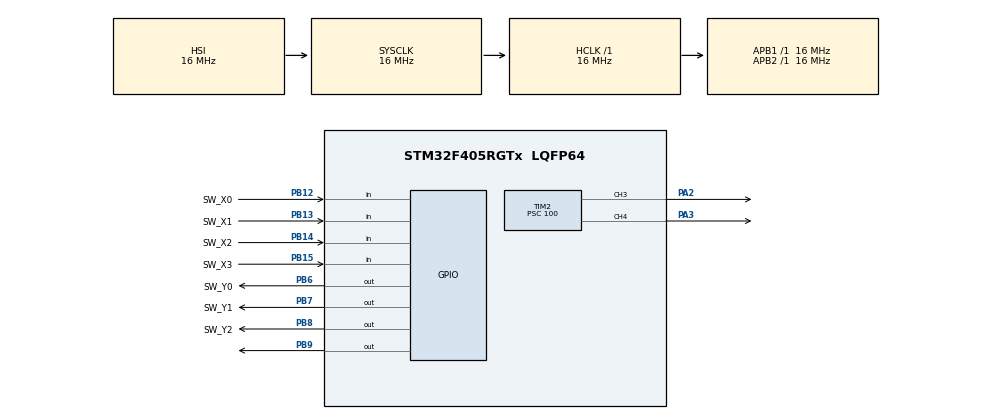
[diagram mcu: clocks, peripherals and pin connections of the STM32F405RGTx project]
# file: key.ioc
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Mcu.Family=STM32F4
Mcu.Name=STM32F405RGTx
Mcu.Package=LQFP64
NVIC.PriorityGroup=NVIC_PRIORITYGROUP_4
NVIC.TIM2_IRQn=true\:0\:0\:false\:false\:true\:true\:true
PA2.Signal=S_TIM2_CH3
PA3.Signal=S_TIM2_CH4
PB12.GPIO_Label=SW_X0
PB12.GPIO_PuPd=GPIO_PULLDOWN
PB12.Signal=GPIO_Input
PB13.GPIO_Label=SW_X1
PB13.GPIO_PuPd=GPIO_PULLDOWN
PB13.Signal=GPIO_Input
PB14.GPIO_Label=SW_X2
PB14.GPIO_PuPd=GPIO_PULLDOWN
PB14.Signal=GPIO_Input
PB15.GPIO_Label=SW_X3
PB15.GPIO_PuPd=GPIO_PULLDOWN
PB15.Signal=GPIO_Input
PB6.GPIO_Label=SW_Y0
PB6.GPIO_PuPd=GPIO_NOPULL
PB6.Signal=GPIO_Output
PB7.GPIO_Label=SW_Y1
PB7.GPIO_PuPd=GPIO_NOPULL
PB7.Signal=GPIO_Output
PB8.GPIO_Label=SW_Y2
PB8.GPIO_PuPd=GPIO_NOPULL
PB8.Signal=GPIO_Output
PB9.Signal=GPIO_Output
ProjectManager.HeapSize=0x200
ProjectManager.StackSize=0x400
ProjectManager.TargetToolchain=MDK-ARM V5
RCC.AHBFreq_Value=16000000
RCC.APB1Freq_Value=16000000
RCC.APB2Freq_Value=16000000
RCC.CortexFreq_Value=16000000
RCC.HSE_VALUE=25000000
RCC.HSI_VALUE=16000000
RCC.LSE_VALUE=32768
RCC.SYSCLKFreq_VALUE=16000000
RCC.VCOOutputFreq_Value=192000000
SH.S_TIM2_CH3.0=TIM2_CH3,PWM Generation3 CH3
SH.S_TIM2_CH4.0=TIM2_CH4,PWM Generation4 CH4
TIM2.AutoReloadPreload=TIM_AUTORELOAD_PRELOAD_DISABLE
TIM2.Channel-PWM\ Generation3\ CH3=TIM_CHANNEL_3
TIM2.Channel-PWM\ Generation4\ CH4=TIM_CHANNEL_4
TIM2.OCMode_PWM-PWM\ Generation3\ CH3=TIM_OCMODE_PWM1
TIM2.Period=1600-1
TIM2.Prescaler=100
TIM2.Pulse-PWM\ Generation3\ CH3=50
VP_TIM2_VS_ClockSourceINT.Mode=Internal
board=custom

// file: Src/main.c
/* USER CODE BEGIN Header */
/**
  ******************************************************************************
  * @file           : main.c
  * @brief          : Main program body
  ******************************************************************************
  * @attention
  *
  * <h2><center>&copy; Copyright (c) 2019 STMicroelectronics.
  * All rights reserved.</center></h2>
  *
  * This software component is licensed by ST under BSD 3-Clause license,
  * the "License"; You may not use this file except in compliance with the
  * License. You may obtain a copy of the License at:
  *                        opensource.org/licenses/BSD-3-Clause
  *
  ******************************************************************************
  */
/* USER CODE END Header */

#include "main.h"

TIM_HandleTypeDef htim2;

/* USER CODE BEGIN PV */
uint16_t get_key_value;
	//              ?7  1   2   3   4   5   6   7  ?1 ?2 ?3 ?4 ?5 ???
	uint16_t tone[] = {247,262,294,330,349,392,440,294,523,587,659,698,784,1000};//?????
	//????
	uint8_t music[]={5,5,6,8,7,6,5,6,13,13,//??
                5,5,6,8,7,6,5,3,13,13,
                2,2,3,5,3,5,6,3,2,1,
                6,6,5,6,5,3,6,5,13,13,

                5,5,6,8,7,6,5,6,13,13,
                5,5,6,8,7,6,5,3,13,13,
                2,2,3,5,3,5,6,3,2,1,
                6,6,5,6,5,3,6,1,

                13,8,9,10,10,9,8,10,9,8,6,
                13,6,8,9,9,8,6,9,8,6,5,
                13,2,3,5,5,3,5,5,6,8,7,6,
                6,10,9,9,8,6,5,6,8};
	uint8_t time[] = {2,4,2,2,2,2,2,8,4, 4, //??
                2,4,2,2,2,2,2,8,4, 4,
                2,4,2,4,2,2,4,2,2,8,
                2,4,2,2,2,2,2,8,4 ,4,

                2,4,2,2,2,2,2,8,4, 4,
                2,4,2,2,2,2,2,8,4, 4,
                2,4,2,4,2,2,4,2,2,8,
                2,4,2,2,2,2,2,8,

                4, 2,2,2, 4, 2,2,2, 2,2,8,
                4, 2,2,2,4,2,2,2,2,2,8,
                4, 2,2,2,4,2,2,5,2,6,2,4,
                2,2 ,2,4,2,4,2,2,12};
/* USER CODE END PV */

void SystemClock_Config(void);
static void MX_GPIO_Init(void);
static void MX_TIM2_Init(void);

/* USER CODE BEGIN 0 */
uint16_t Key_scan(void);
void play_music(void);
void Sound_music(uint16_t frq);
/* USER CODE END 0 */

int main(void)
{

  /* MCU Configuration--------------------------------------------------------*/

  /* Reset of all peripherals, Initializes the Flash interface and the Systick. */
  HAL_Init();

  /* Configure the system clock */
  SystemClock_Config();

  /* Initialize all configured peripherals */
  MX_GPIO_Init();
  MX_TIM2_Init();

  /* Infinite loop */
  /* USER CODE BEGIN WHILE */
  while (1)
  {

	 get_key_value = Key_scan();
	 HAL_Delay(50);
	  switch(get_key_value)
	  {
		  case 1:
			  HAL_TIM_PWM_Start(&htim2,TIM_CHANNEL_4 );//开启PWM   TIM_CHANNEL_4 电路图
			  play_music();
				break;
		  case 2:

			  Sound_music((uint16_t)tone[music[2]]);
				HAL_TIM_PWM_Start(&htim2,TIM_CHANNEL_4 );
			 HAL_Delay(1000);
		  break;
		  case 3:

			  Sound_music((uint16_t)tone[music[3]]);
		  HAL_TIM_PWM_Start(&htim2,TIM_CHANNEL_4 );
				HAL_Delay(1000);
		  break;
		  case 4:
			  HAL_TIM_PWM_Start(&htim2,TIM_CHANNEL_4 );
			  Sound_music((uint16_t)tone[music[4]]);
			HAL_Delay(1000);
		  break;
		  default:
			  break;
	  }
	get_key_value = 0;
	  HAL_TIM_PWM_Stop(&htim2,TIM_CHANNEL_4 );

    /* USER CODE END WHILE */

  }
}

void SystemClock_Config(void)
{
  RCC_OscInitTypeDef RCC_OscInitStruct = {0};
  RCC_ClkInitTypeDef RCC_ClkInitStruct = {0};

  /** Configure the main internal regulator output voltage
  */
  __HAL_RCC_PWR_CLK_ENABLE();
  __HAL_PWR_VOLTAGESCALING_CONFIG(PWR_REGULATOR_VOLTAGE_SCALE1);
  /** Initializes the CPU, AHB and APB busses clocks
  */
  RCC_OscInitStruct.OscillatorType = RCC_OSCILLATORTYPE_HSI;
  RCC_OscInitStruct.HSIState = RCC_HSI_ON;
  RCC_OscInitStruct.HSICalibrationValue = RCC_HSICALIBRATION_DEFAULT;
  RCC_OscInitStruct.PLL.PLLState = RCC_PLL_NONE;
  if (HAL_RCC_OscConfig(&RCC_OscInitStruct) != HAL_OK)
  {
    Error_Handler();
  }
  /** Initializes the CPU, AHB and APB busses clocks
  */
  RCC_ClkInitStruct.ClockType = RCC_CLOCKTYPE_HCLK|RCC_CLOCKTYPE_SYSCLK
                              |RCC_CLOCKTYPE_PCLK1|RCC_CLOCKTYPE_PCLK2;
  RCC_ClkInitStruct.SYSCLKSource = RCC_SYSCLKSOURCE_HSI;
  RCC_ClkInitStruct.AHBCLKDivider = RCC_SYSCLK_DIV1;
  RCC_ClkInitStruct.APB1CLKDivider = RCC_HCLK_DIV1;
  RCC_ClkInitStruct.APB2CLKDivider = RCC_HCLK_DIV1;

  if (HAL_RCC_ClockConfig(&RCC_ClkInitStruct, FLASH_LATENCY_0) != HAL_OK)
  {
    Error_Handler();
  }
}

static void MX_TIM2_Init(void)
{

  TIM_ClockConfigTypeDef sClockSourceConfig = {0};
  TIM_MasterConfigTypeDef sMasterConfig = {0};
  TIM_OC_InitTypeDef sConfigOC = {0};

  htim2.Instance = TIM2;
  htim2.Init.Prescaler = 100;
  htim2.Init.CounterMode = TIM_COUNTERMODE_UP;
  htim2.Init.Period = 1600-1;
  htim2.Init.ClockDivision = TIM_CLOCKDIVISION_DIV1;
  htim2.Init.AutoReloadPreload = TIM_AUTORELOAD_PRELOAD_DISABLE;
  if (HAL_TIM_Base_Init(&htim2) != HAL_OK)
  {
    Error_Handler();
  }
  sClockSourceConfig.ClockSource = TIM_CLOCKSOURCE_INTERNAL;
  if (HAL_TIM_ConfigClockSource(&htim2, &sClockSourceConfig) != HAL_OK)
  {
    Error_Handler();
  }
  if (HAL_TIM_PWM_Init(&htim2) != HAL_OK)
  {
    Error_Handler();
  }
  sMasterConfig.MasterOutputTrigger = TIM_TRGO_RESET;
  sMasterConfig.MasterSlaveMode = TIM_MASTERSLAVEMODE_DISABLE;
  if (HAL_TIMEx_MasterConfigSynchronization(&htim2, &sMasterConfig) != HAL_OK)
  {
    Error_Handler();
  }
  sConfigOC.OCMode = TIM_OCMODE_PWM1;
  sConfigOC.Pulse = 50;
  sConfigOC.OCPolarity = TIM_OCPOLARITY_HIGH;
  sConfigOC.OCFastMode = TIM_OCFAST_DISABLE;
  if (HAL_TIM_PWM_ConfigChannel(&htim2, &sConfigOC, TIM_CHANNEL_3) != HAL_OK)
  {
    Error_Handler();
  }
  sConfigOC.Pulse = 0;
  if (HAL_TIM_PWM_ConfigChannel(&htim2, &sConfigOC, TIM_CHANNEL_4) != HAL_OK)
  {
    Error_Handler();
  }
  HAL_TIM_MspPostInit(&htim2);

}

static void MX_GPIO_Init(void)
{
  GPIO_InitTypeDef GPIO_InitStruct = {0};

  /* GPIO Ports Clock Enable */
  __HAL_RCC_GPIOA_CLK_ENABLE();
  __HAL_RCC_GPIOB_CLK_ENABLE();

  /*Configure GPIO pin Output Level */
  HAL_GPIO_WritePin(GPIOB, SW_Y0_Pin|SW_Y1_Pin|SW_Y2_Pin|GPIO_PIN_9, GPIO_PIN_RESET);

  /*Configure GPIO pins : SW_X0_Pin SW_X1_Pin SW_X2_Pin SW_X3_Pin */
  GPIO_InitStruct.Pin = SW_X0_Pin|SW_X1_Pin|SW_X2_Pin|SW_X3_Pin;
  GPIO_InitStruct.Mode = GPIO_MODE_INPUT;
  GPIO_InitStruct.Pull = GPIO_PULLDOWN;
  HAL_GPIO_Init(GPIOB, &GPIO_InitStruct);

  /*Configure GPIO pins : SW_Y0_Pin SW_Y1_Pin SW_Y2_Pin PB9 */
  GPIO_InitStruct.Pin = SW_Y0_Pin|SW_Y1_Pin|SW_Y2_Pin|GPIO_PIN_9;
  GPIO_InitStruct.Mode = GPIO_MODE_OUTPUT_PP;
  GPIO_InitStruct.Pull = GPIO_NOPULL;
  GPIO_InitStruct.Speed = GPIO_SPEED_FREQ_LOW;
  HAL_GPIO_Init(GPIOB, &GPIO_InitStruct);

}

/* USER CODE BEGIN 4 */
uint16_t Key_scan(void)
{
	uint8_t i;
	uint16_t pin_value[] = {SW_X0_Pin,SW_X1_Pin,SW_X3_Pin,SW_X2_Pin};
	HAL_GPIO_WritePin(GPIOB, SW_Y1_Pin|SW_Y1_Pin|SW_Y2_Pin, GPIO_PIN_RESET);
	HAL_Delay(5);
	/*=========================???????????=========================*/
	HAL_GPIO_WritePin(GPIOB, SW_Y0_Pin, GPIO_PIN_SET); // ???????

	/*----------------------------Scan the 1st ROW----------------------------*/
	HAL_GPIO_WritePin(GPIOB, SW_Y1_Pin|SW_Y2_Pin, GPIO_PIN_RESET);   // ??PD0~2?1

	for(i=0;i<4;i++)
	{
		if(GPIO_PIN_SET == HAL_GPIO_ReadPin(GPIOB, pin_value[i]))
		{
			HAL_Delay(10);
			if(GPIO_PIN_SET == HAL_GPIO_ReadPin(GPIOB, pin_value[i]))
			{
				return (i+1);
			}
		}
	}

	/*=========================???????????=========================*/
	HAL_GPIO_WritePin(GPIOB, SW_Y1_Pin ,GPIO_PIN_SET); // ???????

	/*----------------------------Scan the 1st ROW----------------------------*/
	HAL_GPIO_WritePin(GPIOB, SW_Y0_Pin|SW_Y2_Pin, GPIO_PIN_RESET);   // ??PD0~2?1
	HAL_Delay(5);
	for(i=0;i<4;i++)
	{
		if(GPIO_PIN_SET == HAL_GPIO_ReadPin(GPIOB, pin_value[i]))
		{
			HAL_Delay(10);
			if(GPIO_PIN_SET == HAL_GPIO_ReadPin(GPIOB, pin_value[i]))
			{
				return (i+5);
			}
		}
	}

	/*=========================???????????=========================*/
	HAL_GPIO_WritePin(GPIOB, SW_Y2_Pin, GPIO_PIN_SET); // ???????

	/*----------------------------Scan the 1st ROW----------------------------*/
	HAL_GPIO_WritePin(GPIOB, SW_Y0_Pin|SW_Y1_Pin, GPIO_PIN_RESET);   // ??PD0~2?1
	HAL_Delay(5);
	for(i=0;i<4;i++)
	{
		if(GPIO_PIN_SET == HAL_GPIO_ReadPin(GPIOB, pin_value[i]))
		{
			HAL_Delay(10);
			if(GPIO_PIN_SET == HAL_GPIO_ReadPin(GPIOB, pin_value[i]))
			{
				return (i+9);
			}
		}
	}

	return 0;
}
static void ImprovePwm(uint16_t time)
{

	  /* USER CODE BEGIN TIM2_Init 0 */

  /* USER CODE END TIM2_Init 0 */

  TIM_ClockConfigTypeDef sClockSourceConfig = {0};
  TIM_MasterConfigTypeDef sMasterConfig = {0};
  TIM_OC_InitTypeDef sConfigOC = {0};

  /* USER CODE BEGIN TIM2_Init 1 */

  /* USER CODE END TIM2_Init 1 */
  htim2.Instance = TIM2;
  htim2.Init.Prescaler = time-1;
  htim2.Init.CounterMode = TIM_COUNTERMODE_UP;
  htim2.Init.Period = 800-1;
  htim2.Init.ClockDivision = TIM_CLOCKDIVISION_DIV1;
  htim2.Init.AutoReloadPreload = TIM_AUTORELOAD_PRELOAD_DISABLE;
  if (HAL_TIM_Base_Init(&htim2) != HAL_OK)
  {
    Error_Handler();
  }
  sClockSourceConfig.ClockSource = TIM_CLOCKSOURCE_INTERNAL;
  if (HAL_TIM_ConfigClockSource(&htim2, &sClockSourceConfig) != HAL_OK)
  {
    Error_Handler();
  }
  if (HAL_TIM_PWM_Init(&htim2) != HAL_OK)
  {
    Error_Handler();
  }
  sMasterConfig.MasterOutputTrigger = TIM_TRGO_RESET;
  sMasterConfig.MasterSlaveMode = TIM_MASTERSLAVEMODE_DISABLE;
  if (HAL_TIMEx_MasterConfigSynchronization(&htim2, &sMasterConfig) != HAL_OK)
  {
    Error_Handler();
  }
  sConfigOC.OCMode = TIM_OCMODE_PWM1;
  sConfigOC.Pulse = (time-1)/2;
  sConfigOC.OCPolarity = TIM_OCPOLARITY_HIGH;
  sConfigOC.OCFastMode = TIM_OCFAST_DISABLE;
  if (HAL_TIM_PWM_ConfigChannel(&htim2, &sConfigOC, TIM_CHANNEL_3) != HAL_OK)
  {
    Error_Handler();
  }
  sConfigOC.Pulse = (time-1)/2;
  if (HAL_TIM_PWM_ConfigChannel(&htim2, &sConfigOC, TIM_CHANNEL_4) != HAL_OK)
  {
    Error_Handler();
  }
  /* USER CODE BEGIN TIM2_Init 2 */

  /* USER CODE END TIM2_Init 2 */
  HAL_TIM_MspPostInit(&htim2);

 }

void Sound_music(uint16_t frq)
{
	uint16_t time;
	if(frq != 1000)
	{
		time = 5000/((uint16_t)frq);

	}
	else
		time = 0;
	ImprovePwm(time*2);
}
void play_music(void)
{

//	uint32_t yanshi;
	uint16_t i;
//	yanshi = 10;
//	for(i=0;i<sizeof(music)/sizeof(music[0]);i++){
//		for(e=0;e<((uint16_t)time[i])*tone[music[i]]/yanshi;e++){
//			Sound_music((uint16_t)tone[music[i]]);
//		}
//	}
	for(i=0;i<sizeof(music)/sizeof(music[0]);i++)
	{
		Sound_music((uint16_t)tone[music[i]]);
		HAL_TIM_PWM_Start(&htim2,TIM_CHANNEL_4 );
		HAL_Delay(time[i]*200);
		HAL_TIM_PWM_Stop(&htim2,TIM_CHANNEL_4 );
	}

}

/* USER CODE END 4 */

void Error_Handler(void)
{
}

/************************ (C) COPYRIGHT STMicroelectronics *****END OF FILE****/
